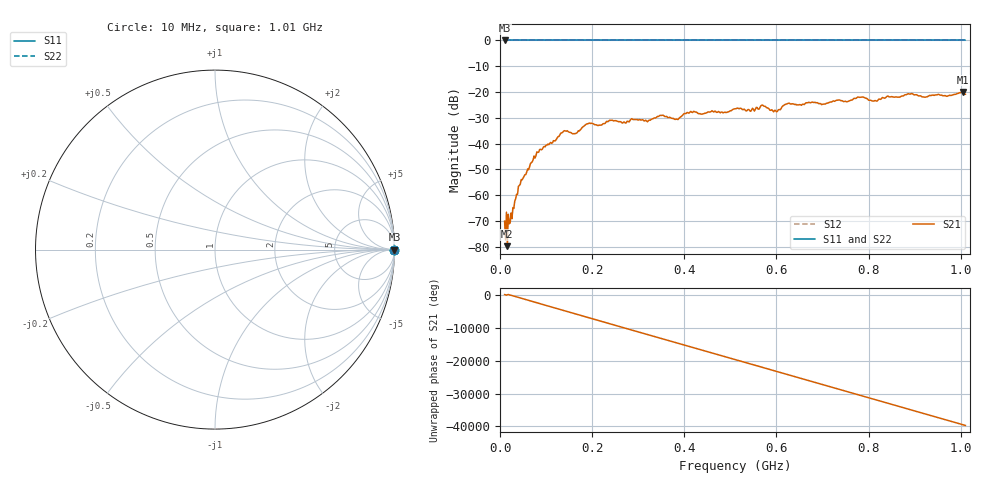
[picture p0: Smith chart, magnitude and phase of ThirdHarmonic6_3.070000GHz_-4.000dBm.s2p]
! 8/17/2025 8:58:12 AM
! C:\ANRITSUVNA\TEMP\TEMP.S2P
! CHANNEL.1
! TR.MEASUREMENT
! RAW.DATA
! RF.CORRECTION.OFF
! AVERAGING.OFF
! IF.BANDWIDTH: 5KHZ
! SWEEPTYPE:  FREQ.SWEEP(Linear)
! Reference Plane Port Info
! PORT:  PORT1  PORT2
! DISTANCE:  0  m  0  m
! TIME:  0  s  0  s
! PHASE.OFFSET:  0  deg.  0  deg.
! LOSS:  0  dB  0  dB
! REF.LOSS:  0  dB  0  dB
! REF.FREQ:  0  Hz  0  Hz
! Power Info
! POWER:  -20  dBm  -20  dBm
! EFF.POWER:  -20  dBm  -20  dBm
! SOURCE.ATTEN:  0  dB  0  dB
! TEST.ATTEN:  0  dB  0  dB
# GHZ S RI R 50.0
! FREQ.GHZ  S11RE  S11IM  S21RE  S21IM  S12RE  S12IM  S22RE  S22IM
!; PortSelection: Port_12
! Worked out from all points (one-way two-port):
!   501 points, 10 MHz to 1.01 GHz, reference 50 ohm
!   highest |S21| = -19.96 dB at 1.004 GHz (marker M1); lowest = -79.8 dB at 16 MHz (marker M2)
!   lowest |S11| = 0.0 dB at 10 MHz (marker M3)
!   |S11| at or under -10 dB: nowhere
!   |S22| runs from 0.0 to 0.0 dB; largest |S21 - S12| = 1.1
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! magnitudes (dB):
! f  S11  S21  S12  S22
! 10 MHz  0.0  -70.1  0.0  0.0
! 12 MHz  0.0  -77.4  0.0  0.0
! 16 MHz  0.0  -79.8  0.0  0.0
! 44 MHz  0.0  -55.8  0.0  0.0
! 84 MHz  0.0  -43.3  0.0  0.0
! 136 MHz  0.0  -35.6  0.0  0.0
! 162 MHz  0.0  -36.2  0.0  0.0
! 178 MHz  0.0  -33.8  0.0  0.0
! 194 MHz  0.0  -32.0  0.0  0.0
! 322 MHz  0.0  -31.2  0.0  0.0
! 344 MHz  0.0  -29.5  0.0  0.0
! 384 MHz  0.0  -30.5  0.0  0.0
! 410 MHz  0.0  -28.2  0.0  0.0
! 510 MHz  0.0  -26.5  0.0  0.0
! 570 MHz  0.0  -25.1  0.0  0.0
! 598 MHz  0.0  -27.2  0.0  0.0
! 624 MHz  0.0  -24.5  0.0  0.0
! 678 MHz  0.0  -23.9  0.0  0.0
! 814 MHz  0.0  -23.3  0.0  0.0
! 844 MHz  0.0  -21.8  0.0  0.0
! 1.004 GHz  0.0  -20.0  0.0  0.0
! 1.01 GHz  0.0  -20.9  0.0  0.0
